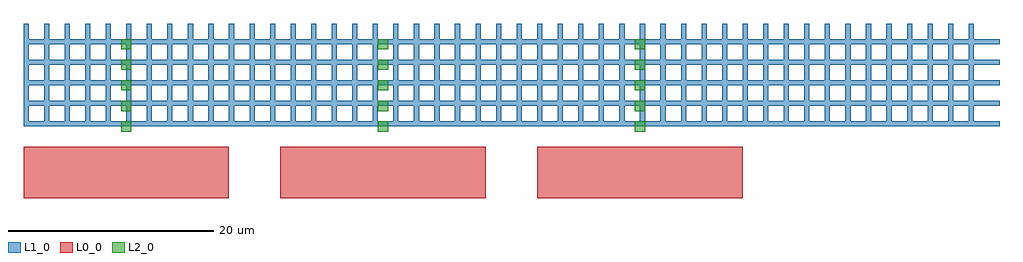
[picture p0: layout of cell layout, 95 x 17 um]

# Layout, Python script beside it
import gdspy

# Define the library and cell for the GDS layout
lib = gdspy.GdsLibrary()
cell = lib.new_cell('layout')

# Draw three rectangular active regions
active_region_width = 20
active_region_height = 5
active_region_spacing = 5

active_region_x = 0
for i in range(3):
    active_region = gdspy.Rectangle((active_region_x, 0), (active_region_x + active_region_width, active_region_height), layer=0)
    cell.add(active_region)
    active_region_x += active_region_width + active_region_spacing

# Create the complex polysilicon gate pattern
gate_width = 0.5
gate_x_min = 0
gate_x_max = active_region_x + active_region_width
gate_y_min = active_region_height + 2
gate_y_max = gate_y_min + 10

for x in [gate_x_min + i * 2 for i in range(int((gate_x_max - gate_x_min) / 2))]:
    gate_v = gdspy.Rectangle((x, gate_y_min), (x + gate_width, gate_y_max), layer=1)
    cell.add(gate_v)

for y in [gate_y_min + i * 2 for i in range(int((gate_y_max - gate_y_min) / 2))]:
    gate_h = gdspy.Rectangle((gate_x_min, y), (gate_x_max, y + gate_width), layer=1)
    cell.add(gate_h)

# Add contact holes
contact_hole_size = 1
for x in [active_region_x + active_region_width / 2 for active_region_x in [0, active_region_width + active_region_spacing, (active_region_width + active_region_spacing) * 2]]:
    for y in [gate_y_min + i * 2 for i in range(int((gate_y_max - gate_y_min) / 2))]:
        contact_hole = gdspy.Rectangle((x - contact_hole_size / 2, y - contact_hole_size / 2), (x + contact_hole_size / 2, y + contact_hole_size / 2), layer=2)
        cell.add(contact_hole)

# Save the design to a GDS file
lib.write_gds('layout.gds')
